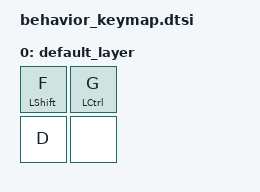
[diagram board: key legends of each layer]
#include <dt-bindings/zmk/keys.h>
#include <behaviors.dtsi>
#include <dt-bindings/zmk/kscan_mock.h>

/ {
    behaviors {
        hp: behavior_hold_preferred {
            compatible = "zmk,behavior-hold-tap";
            #binding-cells = <2>;
            flavor = "hold-preferred";
            tapping-term-ms = <300>;
            quick-tap-ms = <300>;
            require-prior-idle-ms = <100>;
            bindings = <&kp>, <&kp>;
        };
    };

    keymap {
        compatible = "zmk,keymap";

        default_layer {
            bindings = <
                &hp LEFT_SHIFT F &hp LEFT_CONTROL G
                &kp D &none>;
        };
    };
};
